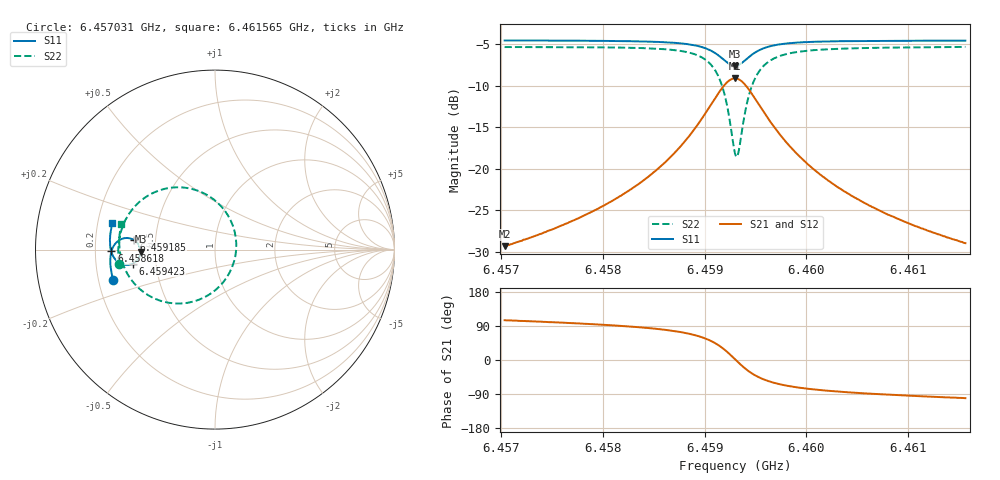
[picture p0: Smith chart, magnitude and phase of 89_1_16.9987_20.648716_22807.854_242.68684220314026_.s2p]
#  HZ  S  RI  R  50.00
! Rohde & Schwarz Vector Network Analyzer
! Rohde-Schwarz,ZNB20-2Port,1311601062101988,3.16
! Created: UTC 3/20/2024, 10:56:02 PM
! freq[Hz]  re:S11  im:S11  re:S21  im:S21  re:S12  im:S12  re:S22  im:S22
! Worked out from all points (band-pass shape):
!   401 points, 6.457031 GHz to 6.461565 GHz, reference 50 ohm
!   highest |S21| = -9.12 dB at 6.459298 GHz (marker M1); lowest = -29.3 dB at 6.457031 GHz (marker M2)
!   |S21| within 3 dB of the highest: 6.459071 GHz to 6.459525 GHz (454 kHz wide, 0.00703 % of centre)
!   lowest |S11| = -7.6 dB at 6.459298 GHz (marker M3), VSWR 2.42, Z = 20.7 - j0.53 ohm
!   |S11| at or under -10 dB: nowhere
!   |S22| runs from -18.6 to -5.3 dB; largest |S21 - S12| = 0.014
!   S11 on the Smith chart (normalised r, x): 6.457031 GHz: 0.26, -0.14; 6.458618 GHz: 0.27, -0.01; 6.459185 GHz: 0.38, +0.05; 6.459423 GHz: 0.37, -0.07; 6.461565 GHz: 0.26, +0.12
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6.4570314e9  -0.5672 -0.1695  -0.0088 0.033  -0.00706 0.033  -0.5344 -0.0792
6.4577908e9  -0.5808 -0.1027  -0.00542 0.0512  -0.00278 0.0505  -0.5388 0.0106
6.4582102e9  -0.5834 -0.0603  0.000626 0.071  0.00401 0.0694  -0.5299 0.078
6.4585502e9  -0.5795 -0.0192  0.015 0.1001  0.0188 0.0972  -0.5036 0.1557
6.4586183e9  -0.5771 -0.00971  0.0203 0.1084  0.0243 0.1052  -0.4934 0.1756
6.4588109e9  -0.5642 0.0207  0.0473 0.1398  0.0515 0.1348  -0.4425 0.245
6.4589583e9  -0.5412 0.0471  0.0934 0.1706  0.0966 0.1637  -0.3577 0.3095
6.4590943e9  -0.4966 0.0645  0.1819 0.1868  0.1828 0.1795  -0.1962 0.347
6.459185e9  -0.4512 0.0538  0.2729 0.1546  0.2732 0.1489  -0.0281 0.2943
6.459253e9  -0.4219 0.021  0.3337 0.0814  0.3359 0.0762  0.0873 0.1623
6.4592983e9  -0.4149 -0.0106  0.3497 0.0125  0.3536 0.00562  0.1187 0.0335
6.4593097e9  -0.4156 -0.0188  0.3495 -0.00545  0.3534 -0.0132  0.1181 -0.00062
6.4593323e9  -0.4191 -0.0347  0.3436 -0.0404  0.3475 -0.0497  0.1059 -0.0669
6.4593777e9  -0.435 -0.0611  0.3142 -0.1009  0.3166 -0.1129  0.0466 -0.1808
6.459423e9  -0.4575 -0.0777  0.2716 -0.1421  0.2707 -0.1555  -0.0401 -0.2553
6.4595137e9  -0.5013 -0.0848  0.1857 -0.1731  0.1796 -0.1848  -0.2109 -0.3005
6.4596611e9  -0.5458 -0.0644  0.097 -0.1589  0.0884 -0.165  -0.3794 -0.2495
6.4598311e9  -0.5686 -0.0348  0.0496 -0.1286  0.0419 -0.1311  -0.4635 -0.1718
6.4600578e9  -0.5806 -0.00109  0.0224 -0.0984  0.0167 -0.0991  -0.5079 -0.0934
6.4603865e9  -0.5854 0.0384  0.00666 -0.072  0.00252 -0.0715  -0.5289 -0.0162
6.4608172e9  -0.5837 0.082  -0.00155 -0.0525  -0.00428 -0.0516  -0.5334 0.0538
6.4615653e9  -0.5719 0.1487  -0.00662 -0.035  -0.00818 -0.034  -0.522 0.1432
